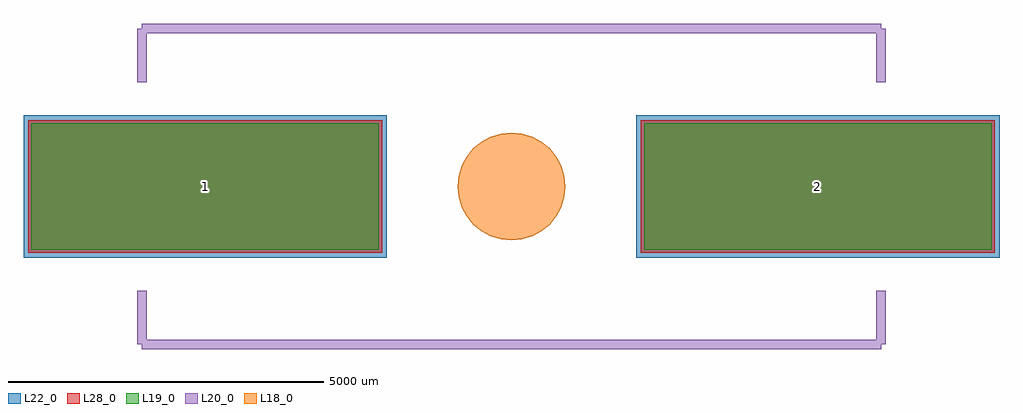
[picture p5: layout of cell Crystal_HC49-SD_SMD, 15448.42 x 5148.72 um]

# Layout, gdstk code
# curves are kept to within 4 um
import gdstk
lib = gdstk.Library(unit=1e-6, precision=1e-09)
def R(c, l, rs):  # rectangles x0, y0, x1, y1
    for r in rs: c.add(gdstk.rectangle(r[:2], r[2:], *l))
def P(c, l, *ps):  # polygons
    for p in ps: c.add(gdstk.Polygon(p, *l))
L18_0 = (18, 0)
L19_0 = (19, 0)
L20_0 = (20, 0)
L22_0 = (22, 0)
L28_0 = (28, 0)

crystal_hc49_sd_smd = lib.new_cell('Crystal_HC49-SD_SMD')
P(crystal_hc49_sd_smd, L18_0, [(158.236,0),(146.191,60.554),(111.89,111.89),(60.554,146.191),(0,158.236),(-60.554,146.191),(-111.89,111.89),(-146.191,60.554),(-158.236,0),(-146.191,-60.554),(-111.89,-111.89),(-60.554,-146.191),(0,-158.236),(60.554,-146.191),(111.89,-111.89),(146.191,-60.554)],
  [(500.38,0),(490.765,97.619),(462.291,191.487),(416.051,277.996),(353.822,353.822),(277.996,416.051),(191.487,462.291),(97.619,490.765),(0,500.38),(-97.619,490.765),(-191.487,462.291),(-277.996,416.051),(-353.822,353.822),(-416.051,277.996),(-462.291,191.487),(-490.765,97.619),(-500.38,0),(-490.765,-97.619),(-462.291,-191.487),(-416.051,-277.996),(-353.822,-353.822),(-277.996,-416.051),(-191.487,-462.291),(-97.619,-490.765),(0,-500.38),(97.619,-490.765),(191.487,-462.291),(277.996,-416.051),(353.822,-353.822),(416.051,-277.996),(462.291,-191.487),(490.765,-97.619)],
  [(850.9,0),(834.55,166.002),(786.129,325.625),(707.497,472.735),(601.677,601.677),(472.735,707.497),(325.625,786.129),(166.002,834.55),(0,850.9),(-166.002,834.55),(-325.625,786.129),(-472.735,707.497),(-601.677,601.677),(-707.497,472.735),(-786.129,325.625),(-834.55,166.002),(-850.9,0),(-834.55,-166.002),(-786.129,-325.625),(-707.497,-472.735),(-601.677,-601.677),(-472.735,-707.497),(-325.625,-786.129),(-166.002,-834.55),(0,-850.9),(166.002,-834.55),(325.625,-786.129),(472.735,-707.497),(601.677,-601.677),(707.497,-472.735),(786.129,-325.625),(834.55,-166.002)])
R(crystal_hc49_sd_smd, L19_0, [(-7599.21,-1000.29,-2098.51,1000.29), (2098.51,-1000.29,7599.21,1000.29)])
R(crystal_hc49_sd_smd, L22_0, [(-7724.21,-1125.29,-1973.51,1125.29), (1973.51,-1125.29,7724.21,1125.29)])
R(crystal_hc49_sd_smd, L28_0, [(-7649.21,-1050.29,-2048.51,1050.29), (2048.51,-1050.29,7649.21,1050.29)])
crystal_hc49_sd_smd.add(gdstk.FlexPath([(-5849.62,2499.36),(-5849.62,1651)], 149.998, ends="flush", simple_path=True, layer=20, datatype=0))  # L20_0
crystal_hc49_sd_smd.add(gdstk.FlexPath([(-5849.62,-2499.36),(-5849.62,-1651)], 149.998, ends="flush", simple_path=True, layer=20, datatype=0))  # L20_0
crystal_hc49_sd_smd.add(gdstk.FlexPath([(5849.62,2499.36),(5849.62,1651)], 149.998, ends="flush", simple_path=True, layer=20, datatype=0))  # L20_0
crystal_hc49_sd_smd.add(gdstk.FlexPath([(5849.62,-2499.36),(5849.62,-1651)], 149.998, ends="flush", simple_path=True, layer=20, datatype=0))  # L20_0
crystal_hc49_sd_smd.add(gdstk.FlexPath([(5849.62,2499.36),(-5849.62,2499.36)], 149.998, ends="flush", simple_path=True, layer=20, datatype=0))  # L20_0
crystal_hc49_sd_smd.add(gdstk.FlexPath([(-5849.62,-2499.36),(5849.62,-2499.36)], 149.998, ends="flush", simple_path=True, layer=20, datatype=0))  # L20_0
crystal_hc49_sd_smd.add(gdstk.Label('2', (4848.86,0), layer=28, texttype=0))
crystal_hc49_sd_smd.add(gdstk.Label('1', (-4848.86,0), layer=28, texttype=0))
crystal_hc49_sd_smd.add(gdstk.Label('type', (2540,-5080), layer=9, texttype=0))
crystal_hc49_sd_smd.add(gdstk.Label('devicename', (0,5080), layer=9, texttype=0))

lib.write_gds('Crystal_HC49-SD_SMD.gds')
